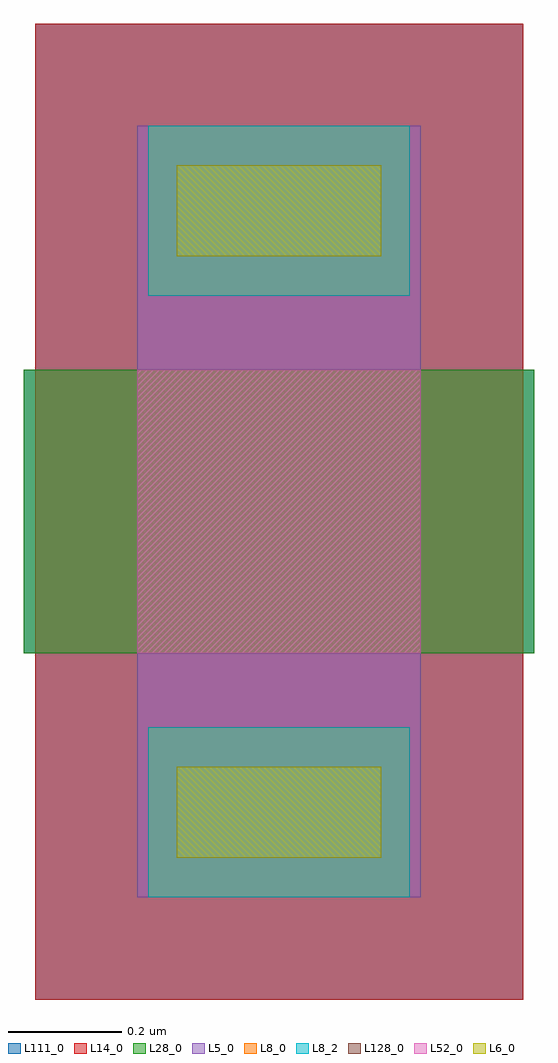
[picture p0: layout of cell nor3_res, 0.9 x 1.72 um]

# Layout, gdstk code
import gdstk
lib = gdstk.Library(unit=1e-6, precision=1e-09)
def R(c, l, rs):  # rectangles x0, y0, x1, y1
    for r in rs: c.add(gdstk.rectangle(r[:2], r[2:], *l))
L5_0 = (5, 0)
L6_0 = (6, 0)
L8_0 = (8, 0)
L8_2 = (8, 2)
L14_0 = (14, 0)
L28_0 = (28, 0)
L52_0 = (52, 0)
L111_0 = (111, 0)
L128_0 = (128, 0)

sg13g2_nor3_1 = lib.new_cell('sg13g2_nor3_1')

rppd = lib.new_cell('rppd')
R(rppd, L5_0, [(0,-0.43,0.5,-0.2), (0,-0.2,0.5,0), (0,0.5,0.5,0.7), (0,0.7,0.5,0.93)])
R(rppd, L6_0, [(0.07,-0.36,0.43,-0.2), (0.07,0.7,0.43,0.86)])
R(rppd, L8_0, [(0.02,-0.43,0.48,-0.13), (0.02,0.63,0.48,0.93)])
R(rppd, L8_2, [(0.02,-0.43,0.48,-0.13), (0.02,0.63,0.48,0.93)])
R(rppd, L14_0, [(-0.18,-0.61,0.68,0), (-0.18,0,0.68,0.5), (-0.18,0.5,0.68,1.11)])
R(rppd, L28_0, [(-0.2,0,0.7,0.5)])
R(rppd, L52_0, [(0,0,0.5,0.5)])
R(rppd, L111_0, [(-0.18,-0.61,0.68,0), (-0.2,0,0.7,0.5), (-0.18,0.5,0.68,1.11)])
R(rppd, L128_0, [(0,0,0.5,0.5)])
rppd.add(gdstk.Label('rppd r=396.917', (0.25,0.25), layer=63, texttype=0))
rppd.add(gdstk.Label('rppd', (0.25,0.25), layer=52, texttype=0))

nor3_res = lib.new_cell('nor3_res')
nor3_res.add(gdstk.Reference(sg13g2_nor3_1, (0,0)))
nor3_res.add(gdstk.Reference(rppd, (4.998,0)))

lib.write_gds('nor3_res.gds')
